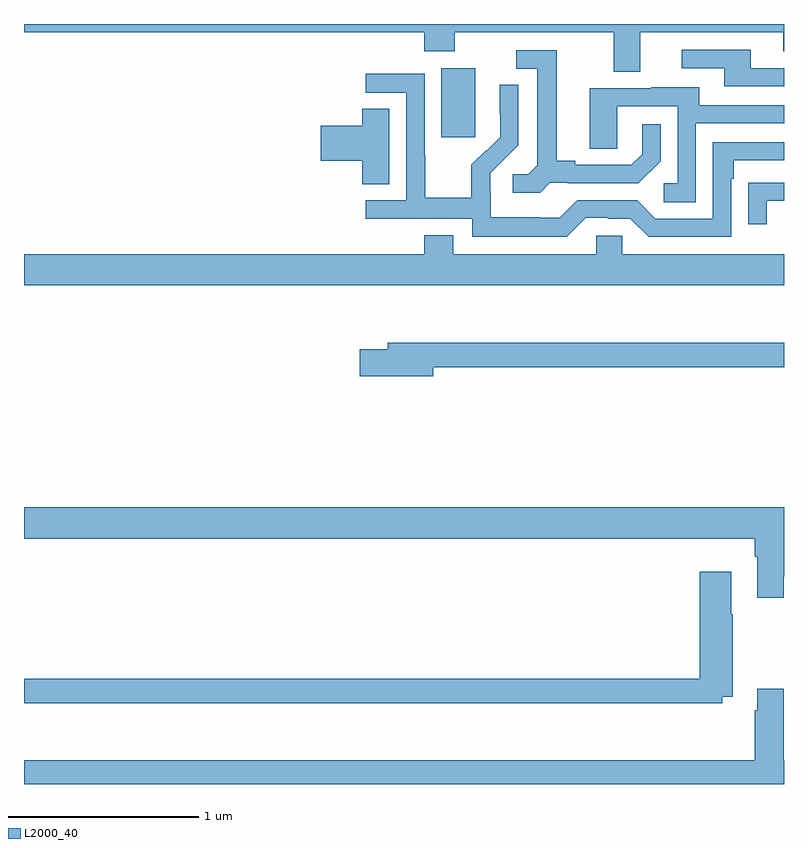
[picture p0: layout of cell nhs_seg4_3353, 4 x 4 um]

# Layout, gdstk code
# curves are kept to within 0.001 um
import gdstk
lib = gdstk.Library(unit=1e-6, precision=1e-09)
def R(c, l, rs):  # rectangles x0, y0, x1, y1
    for r in rs: c.add(gdstk.rectangle(r[:2], r[2:], *l))
def P(c, l, *ps):  # polygons
    for p in ps: c.add(gdstk.Polygon(p, *l))
L2000_40 = (2000, 40)

nhs_seg4_3353 = lib.new_cell('nhs_seg4_3353')
R(nhs_seg4_3353, L2000_40, [(291.197,760.305,291.376,760.666)])
P(nhs_seg4_3353, L2000_40, [(292.243,760.856),(292.997,760.856),(292.997,760.757),(293,760.757),(293,760.9),(289,760.9),(289,760.856),(291.107,760.856),(291.107,760.757),(291.267,760.757),(291.267,760.856),(292.103,760.856),(292.103,760.648),(292.243,760.648)],
  [(293,760.668),(292.825,760.668),(292.825,760.764),(292.461,760.764),(292.461,760.668),(292.685,760.668),(292.685,760.572),(293,760.572)],
  [(291.768,760.065),(291.862,760.065),(291.862,760.062),(292.234,760.062),(292.35,760.178),(292.35,760.372),(292.253,760.372),(292.253,760.215),(292.196,760.158),(291.901,760.158),(291.901,760.181),(291.805,760.181),(291.805,760.761),(291.591,760.761),(291.591,760.665),(291.701,760.665),(291.701,760.157),(291.654,760.11),(291.573,760.11),(291.573,760.013),(291.716,760.013)],
  [(291.957,759.879),(292.073,759.879),(292.073,759.876),(292.191,759.876),(292.287,759.78),(292.722,759.78),(292.722,760.085),(292.735,760.085),(292.735,760.182),(293,760.182),(293,760.278),(292.626,760.278),(292.626,759.876),(292.323,759.876),(292.227,759.972),(291.912,759.972),(291.819,759.879),(291.719,759.879),(291.719,759.883),(291.456,759.883),(291.456,760.017),(291.454,760.017),(291.454,760.114),(291.6,760.262),(291.6,760.58),(291.504,760.58),(291.504,760.426),(291.506,760.426),(291.506,760.304),(291.435,760.233),(291.432,760.236),(291.355,760.159),(291.355,759.985),(291.111,759.985),(291.111,760.208),(291.108,760.208),(291.108,760.638),(290.799,760.638),(290.799,760.539),(291.012,760.539),(291.012,759.972),(290.799,759.972),(290.799,759.876),(291.36,759.876),(291.36,759.779),(291.857,759.779)],
  [(292.536,760.377),(293,760.377),(293,760.473),(292.555,760.473),(292.555,760.567),(292.301,760.567),(292.301,760.563),(291.977,760.563),(291.977,760.243),(292.122,760.243),(292.122,760.467),(292.44,760.467),(292.44,760.062),(292.368,760.062),(292.368,759.961),(292.536,759.961)],
  [(290.923,760.454),(290.78,760.454),(290.78,760.364),(290.562,760.364),(290.562,760.181),(290.78,760.181),(290.78,760.057),(290.923,760.057)],
  [(292.909,759.969),(293,759.969),(293,760.065),(292.915,760.065),(292.915,760.064),(292.813,760.064),(292.813,759.846),(292.909,759.846)],
  [(293,759.688),(292.149,759.688),(292.149,759.786),(292.011,759.786),(292.011,759.688),(291.259,759.688),(291.259,759.787),(291.107,759.787),(291.107,759.688),(289,759.688),(289,759.524),(293,759.524)],
  [(291.154,759.094),(293,759.094),(293,759.223),(290.915,759.223),(290.915,759.189),(290.766,759.189),(290.766,759.047),(291.154,759.047)],
  [(292.999,757.993),(293,757.993),(293,758.356),(289,758.356),(289,758.192),(292.847,758.192),(292.847,758.096),(292.859,758.096),(292.859,757.881),(292.999,757.881)],
  [(292.674,757.358),(292.731,757.358),(292.731,757.793),(292.723,757.793),(292.723,758.017),(292.556,758.017),(292.556,757.454),(289,757.454),(289,757.326),(292.674,757.326)],
  [(293,757.024),(292.999,757.024),(292.999,757.402),(292.859,757.402),(292.859,757.289),(292.847,757.289),(292.847,757.024),(289,757.024),(289,756.9),(293,756.9)])

lib.write_gds('nhs_seg4_3353.gds')
